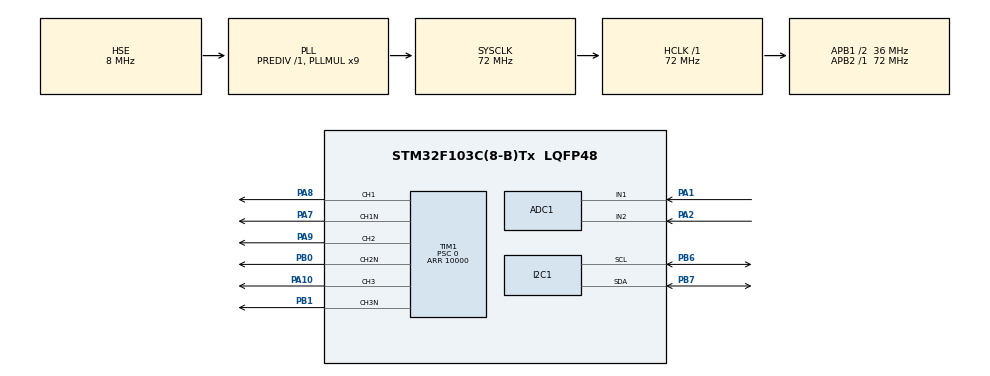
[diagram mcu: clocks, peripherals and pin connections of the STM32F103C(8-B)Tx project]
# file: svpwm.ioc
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ADC1.Channel-0\#ChannelRegularConversion=ADC_CHANNEL_1
ADC1.Channel-1\#ChannelRegularConversion=ADC_CHANNEL_2
ADC1.ContinuousConvMode=ENABLE
ADC1.DataAlign=ADC_DATAALIGN_RIGHT
ADC1.NbrOfConversion=2
ADC1.NbrOfConversionFlag=1
ADC1.Rank-0\#ChannelRegularConversion=1
ADC1.Rank-1\#ChannelRegularConversion=2
ADC1.SamplingTime-0\#ChannelRegularConversion=ADC_SAMPLETIME_41CYCLES_5
ADC1.SamplingTime-1\#ChannelRegularConversion=ADC_SAMPLETIME_41CYCLES_5
ADC1.master=1
Dma.ADC1.0.Direction=DMA_PERIPH_TO_MEMORY
Dma.ADC1.0.Instance=DMA1_Channel1
Dma.ADC1.0.MemDataAlignment=DMA_MDATAALIGN_WORD
Dma.ADC1.0.MemInc=DMA_MINC_ENABLE
Dma.ADC1.0.Mode=DMA_CIRCULAR
Dma.ADC1.0.PeriphDataAlignment=DMA_PDATAALIGN_WORD
Dma.ADC1.0.PeriphInc=DMA_PINC_DISABLE
Dma.ADC1.0.Priority=DMA_PRIORITY_LOW
Dma.Request0=ADC1
I2C1.I2C_Mode=I2C_Fast
Mcu.Family=STM32F1
Mcu.Name=STM32F103C(8-B)Tx
Mcu.Package=LQFP48
NVIC.DMA1_Channel1_IRQn=true\:0\:0\:false\:false\:true\:false\:true
NVIC.PriorityGroup=NVIC_PRIORITYGROUP_4
NVIC.TIM1_BRK_IRQn=true\:0\:0\:false\:false\:true\:true\:true
NVIC.TIM1_UP_IRQn=true\:0\:0\:false\:false\:true\:true\:true
PA1.Signal=ADCx_IN1
PA10.Signal=S_TIM1_CH3
PA13.Mode=Trace_Asynchronous_SW
PA13.Signal=SYS_JTMS-SWDIO
PA14.Mode=Trace_Asynchronous_SW
PA14.Signal=SYS_JTCK-SWCLK
PA2.Signal=ADCx_IN2
PA7.Mode=PWM Generation1 CH1 CH1N
PA7.Signal=TIM1_CH1N
PA8.Signal=S_TIM1_CH1
PA9.Signal=S_TIM1_CH2
PB0.Mode=PWM Generation2 CH2 CH2N
PB0.Signal=TIM1_CH2N
PB1.Mode=PWM Generation3 CH3 CH3N
PB1.Signal=TIM1_CH3N
PB3.Mode=Trace_Asynchronous_SW
PB3.Signal=SYS_JTDO-TRACESWO
PB6.Mode=I2C
PB6.Signal=I2C1_SCL
PB7.Mode=I2C
PB7.Signal=I2C1_SDA
PD0-OSC_IN.Mode=HSE-External-Oscillator
PD0-OSC_IN.Signal=RCC_OSC_IN
PD1-OSC_OUT.Mode=HSE-External-Oscillator
PD1-OSC_OUT.Signal=RCC_OSC_OUT
ProjectManager.HeapSize=0x200
ProjectManager.StackSize=0x400
ProjectManager.TargetToolchain=STM32CubeIDE
RCC.ADCPresc=RCC_ADCPCLK2_DIV6
RCC.AHBFreq_Value=72000000
RCC.APB1CLKDivider=RCC_HCLK_DIV2
RCC.APB1Freq_Value=36000000
RCC.APB1TimFreq_Value=72000000
RCC.APB2Freq_Value=72000000
RCC.APB2TimFreq_Value=72000000
RCC.HCLKFreq_Value=72000000
RCC.PLLMUL=RCC_PLL_MUL9
RCC.PLLSourceVirtual=RCC_PLLSOURCE_HSE
RCC.SYSCLKFreq_VALUE=72000000
RCC.SYSCLKSource=RCC_SYSCLKSOURCE_PLLCLK
RCC.USBFreq_Value=48000000
RCC.USBPrescaler=RCC_USBCLKSOURCE_PLL_DIV1_5
SH.ADCx_IN1.0=ADC1_IN1,IN1
SH.ADCx_IN2.0=ADC1_IN2,IN2
SH.S_TIM1_CH1.0=TIM1_CH1,PWM Generation1 CH1 CH1N
SH.S_TIM1_CH2.0=TIM1_CH2,PWM Generation2 CH2 CH2N
SH.S_TIM1_CH3.0=TIM1_CH3,PWM Generation3 CH3 CH3N
TIM1.AutoReloadPreload=TIM_AUTORELOAD_PRELOAD_ENABLE
TIM1.BreakState=TIM_BREAK_DISABLE
TIM1.Channel-PWM\ Generation1\ CH1\ CH1N=TIM_CHANNEL_1
TIM1.Channel-PWM\ Generation2\ CH2\ CH2N=TIM_CHANNEL_2
TIM1.Channel-PWM\ Generation3\ CH3\ CH3N=TIM_CHANNEL_3
TIM1.DeadTime=0
TIM1.Period=10000
TIM1.Prescaler=0
TIM1.Pulse-PWM\ Generation1\ CH1\ CH1N=500
TIM1.Pulse-PWM\ Generation2\ CH2\ CH2N=250
TIM1.Pulse-PWM\ Generation3\ CH3\ CH3N=750
VP_TIM1_VS_ClockSourceINT.Mode=Internal
board=custom

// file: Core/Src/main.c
/* USER CODE BEGIN Header */
/**
  ******************************************************************************
  * @file           : main.c
  * @brief          : Main program body
  ******************************************************************************
  * @attention
  *
  * <h2><center>&copy; Copyright (c) 2020 STMicroelectronics.
  * All rights reserved.</center></h2>
  *
  * This software component is licensed by ST under Ultimate Liberty license
  * SLA0044, the "License"; You may not use this file except in compliance with
  * the License. You may obtain a copy of the License at:
  *                             www.st.com/SLA0044
  *
  ******************************************************************************
  */
/* USER CODE END Header */
#include "main.h"

/* USER CODE BEGIN Includes */
#include "math.h"
#include "stdio.h"
#include "inttypes.h"
/* USER CODE END Includes */

ADC_HandleTypeDef hadc1;
DMA_HandleTypeDef hdma_adc1;

I2C_HandleTypeDef hi2c1;

TIM_HandleTypeDef htim1;

/* USER CODE BEGIN PV */

// I2C Values for AS5600
static const uint8_t AS5600_ADDR = 0x36 << 1; // Use 8-bit address
static const uint8_t RAW_ANGLE_REG = 0x0C;

static const float S_2_PI_3 = 2.0f * M_PI / 3.0f;
static const float S_1_SQRT3 = 1.0f / sqrtf(3.0f);
static const float S_2_SQRT3 = 2.0f / sqrtf(3.0f);
static const float S_SQRT3_2 = sqrt(3.0f) / 2.0f;
static const float SCALE_TO_ONE = 1.0f / (1.0f / (2.0f * sqrtf(3.0f)) + sqrtf(3.0f) / 2.0f);

/* USER CODE END PV */

void SystemClock_Config(void);
static void MX_GPIO_Init(void);
static void MX_DMA_Init(void);
static void MX_TIM1_Init(void);
static void MX_I2C1_Init(void);
static void MX_ADC1_Init(void);

/* USER CODE BEGIN 0 */

int _write(int32_t file, uint8_t *ptr, int32_t len) {
	/* Implement your write code here, this is used by puts and printf for example */
	int i = 0;
	for(i=0; i < len; i++) {
		ITM_SendChar((*ptr++));
	}
	return len;
}

int modeSelect = 0;

float theta = 0.0f;
float thetaAdd = 0.00002f;

uint16_t desiredRawAngle = 2000;
uint16_t lastRawAngle = 0;
int desiredVelocity = 0;
int velocity = 0;

uint16_t electricOffset = 35;
uint16_t electricRange = 585;
uint16_t electricAngle = 0;

uint32_t adcValues[2];

int dutyCycle = 500;
int period = 10000;

// In V
float V = 15.0f;

// TODO: Make this so you don't need to update it
float VConversionFactor = 15.0f * 150.0f / 10000.0f;

// In V
float Va = 0;
float Vb = 0;
float Vc = 0;

float Valpha = 0;
float Vbeta = 0;

// For converting from ADC value to mA
// ADC range is [0, 4095] which gets shifted
// to [-2048, 2047] to account for negative current.
// Current shunt resistance is 0.0005 ohms
// and current amplifier gain is 100 with range [-1.65, 1.65] volts
// So, V = 100 * 0.0005 * I
// So I = V / (100 * 0.0005)
// So for 1.65 volts, I = 1.65 / (100 * 0.0005) = 33 amps
float IConversionFactor = 33.0f / 2048.0f;

// In A
float Ia = 0;
float Ib = 0;
float Ic = 0;

float Ialpha = 0;
float Ibeta = 0;

// Sensorless stuff from this article:
// http://cas.ensmp.fr/~praly/Telechargement/Journaux/2010-IEEE_TPEL-Lee-Hong-Nam-Ortega-Praly-Astolfi.pdf

float R = 0.034f; // TODO
float L = 0.01f; // TODO
float psi = 0.01f; // TODO

float gamma_ = 1000.0f; // TODO

float yAlpha = 0;
float yBeta = 0;

float etaAlpha = 0;
float etaBeta = 0;

float psiSquared = 0;
float etaNormSquared = 0;

float xAlpha = 0;
float xBeta = 0;

float xDotAlpha = 0;
float xDotBeta = 0;

void HAL_TIM_PeriodElapsedCallback(TIM_HandleTypeDef *htim1_1) {
	float p;
	if (modeSelect == 0) {
		p = 0.0f;
	} else if (modeSelect == 1) {
		p = 100.0f * (desiredVelocity - velocity);

		if (desiredVelocity < 0) {
			p = -p;
		}

		if (p < 0.0f) {
			p = 0.0f;
		}
	}

	float multiplyBy = ((float)dutyCycle + p) * (1.0f + 12.5f * thetaAdd);
	int addTo = ((float)period - multiplyBy) / 2.0f;

	float third_sector = floorf(theta / S_2_PI_3);
	float third_sector_theta = theta - third_sector * S_2_PI_3;

	float x = cosf(third_sector_theta);
	float y = sinf(third_sector_theta);

	float a = SCALE_TO_ONE * (S_1_SQRT3 * y + x);
	float b = SCALE_TO_ONE * (S_2_SQRT3 * y);

	int a_time = a * multiplyBy;
	int b_time = b * multiplyBy;

	if (third_sector == 0) {
		__HAL_TIM_SET_COMPARE(&htim1, TIM_CHANNEL_1, a_time + addTo);
		__HAL_TIM_SET_COMPARE(&htim1, TIM_CHANNEL_2, b_time + addTo);
		__HAL_TIM_SET_COMPARE(&htim1, TIM_CHANNEL_3, addTo);

		Va = a * VConversionFactor;
		Vb = b * VConversionFactor;
		Vc = 0;
	} else if (third_sector == 1) {
		__HAL_TIM_SET_COMPARE(&htim1, TIM_CHANNEL_1, addTo);
		__HAL_TIM_SET_COMPARE(&htim1, TIM_CHANNEL_2, a_time + addTo);
		__HAL_TIM_SET_COMPARE(&htim1, TIM_CHANNEL_3, b_time + addTo);

		Va = 0;
		Vb = a * VConversionFactor;
		Vc = b * VConversionFactor;
	} else { // third_sector == 2
		__HAL_TIM_SET_COMPARE(&htim1, TIM_CHANNEL_1, b_time + addTo);
		__HAL_TIM_SET_COMPARE(&htim1, TIM_CHANNEL_2, addTo);
		__HAL_TIM_SET_COMPARE(&htim1, TIM_CHANNEL_3, a_time + addTo);

		Va = b * VConversionFactor;
		Vb = 0;
		Vc = a * VConversionFactor;
	}

	if (modeSelect == 0) {
		theta += thetaAdd;
//		thetaAdd += 0.0000002f;

		if (theta >= 2.0f * M_PI) {
			theta -= 2.0f * M_PI;
		}
	}
}

/* USER CODE END 0 */

int main(void)
{

  /* MCU Configuration--------------------------------------------------------*/

  /* Reset of all peripherals, Initializes the Flash interface and the Systick. */
  HAL_Init();

  /* Configure the system clock */
  SystemClock_Config();

  /* Initialize all configured peripherals */
  MX_GPIO_Init();
  MX_DMA_Init();
  MX_TIM1_Init();
  MX_I2C1_Init();
  MX_ADC1_Init();
  /* USER CODE BEGIN 2 */
  __HAL_TIM_ENABLE_IT(&htim1, TIM_IT_UPDATE);

  HAL_TIM_PWM_Start(&htim1, TIM_CHANNEL_1);
  HAL_TIMEx_PWMN_Start(&htim1, TIM_CHANNEL_1);

  HAL_TIM_PWM_Start(&htim1, TIM_CHANNEL_2);
  HAL_TIMEx_PWMN_Start(&htim1, TIM_CHANNEL_2);

  HAL_TIM_PWM_Start(&htim1, TIM_CHANNEL_3);
  HAL_TIMEx_PWMN_Start(&htim1, TIM_CHANNEL_3);

  if (HAL_ADC_Start_DMA(&hadc1, adcValues, 2) != HAL_OK) {
	  printf("Error ADC start\n");
  }

  HAL_StatusTypeDef ret;
  uint8_t buf[12];

  if (modeSelect == 1) {
	  buf[0] = RAW_ANGLE_REG;
	  ret = HAL_I2C_Master_Transmit(&hi2c1, AS5600_ADDR, buf, 1, 1000);
	  if (ret == HAL_BUSY) {
		  printf("Busy Tx\n");
	  } else if (ret == HAL_ERROR) {
		  printf("Error Tx\n");
	  } else {
		  printf("Success Tx\n");
	  }
  }

  /* USER CODE END 2 */

  /* Infinite loop */
  /* USER CODE BEGIN WHILE */
  while (1)
  {
	  if (modeSelect == 1) {
		  ret = HAL_I2C_Master_Receive(&hi2c1, AS5600_ADDR, buf, 2, 1000);
		  if (ret != HAL_OK) {
			  printf("Error Rx\n");
		  } else {
			  uint16_t rawAngle = (((uint16_t) buf[0]) << 8) + buf[1];
//			  printf("Read I2C %u\n", rawAngle);

			  if (lastRawAngle > 3995 && rawAngle < 100) {
				  velocity = 4095 - ((int)lastRawAngle) + ((int)rawAngle);
			  } else {
				  velocity = ((int)rawAngle) - ((int)lastRawAngle);
			  }

//			  printf("Velocity %d\n", velocity);

			  lastRawAngle = rawAngle;

			  if (electricOffset > rawAngle) {
				  electricAngle = electricRange - electricOffset + rawAngle;
			  } else {
				  electricAngle = (rawAngle - electricOffset) % electricRange;
			  }

//			  printf("Electric angle %u\n", electricAngle);

//			  desiredVelocity = 20;
			  desiredVelocity = ((int)desiredRawAngle - (int)rawAngle) / 5;

			  if (desiredVelocity > 20) {
			  	desiredVelocity = 20;
			  } else if (desiredVelocity < -20) {
			  	desiredVelocity = -20;
			  }

			  if (desiredVelocity > 0) {
				  theta = 2.0f * M_PI * ((electricAngle + electricRange / 4) % electricRange) / (1.0f * electricRange);
			  } else {
				  theta = 2.0f * M_PI * ((electricAngle + 3 * electricRange / 4) % electricRange) / (1.0f * electricRange);
			  }
		  }
	  }

	  Ia = ((float)adcValues[0] - 4096 / 2) * IConversionFactor;
	  Ib = ((float)adcValues[1] - 4096 / 2) * IConversionFactor;
	  Ic = -(Ia + Ib);

	  Ialpha = Ia - 0.5 * Ib - 0.5 * Ic;
	  Ibeta = S_SQRT3_2 * Ib - S_SQRT3_2 * Ic;

	  Valpha = Va - 0.5 * Vb - 0.5 * Vc;
	  Vbeta = S_SQRT3_2 * Vb - S_SQRT3_2 * Vc;

	  yAlpha = -R * Ialpha + Valpha;
	  yBeta = -R * Ibeta + Vbeta;

	  etaAlpha = xAlpha - L * Ialpha;
	  etaBeta = xBeta - L * Ibeta;

	  psiSquared = psi * psi;
	  etaNormSquared = etaAlpha * etaAlpha + etaBeta * etaBeta;

	  xDotAlpha = yAlpha + 0.5 * gamma_ * etaAlpha * (psiSquared - etaNormSquared);
	  xDotBeta = yBeta + 0.5 * gamma_ * etaBeta * (psiSquared - etaNormSquared);

//	  HAL_Delay(250);

//	  theta += 0.01;
//
//	  if (theta >= 2.0f * M_PI) {
//		  theta -= 2.0f * M_PI;
//	  }
//
//	  HAL_Delay(10);
    /* USER CODE END WHILE */

  }
}

void SystemClock_Config(void)
{
  RCC_OscInitTypeDef RCC_OscInitStruct = {0};
  RCC_ClkInitTypeDef RCC_ClkInitStruct = {0};
  RCC_PeriphCLKInitTypeDef PeriphClkInit = {0};

  /** Initializes the RCC Oscillators according to the specified parameters
  * in the RCC_OscInitTypeDef structure.
  */
  RCC_OscInitStruct.OscillatorType = RCC_OSCILLATORTYPE_HSE;
  RCC_OscInitStruct.HSEState = RCC_HSE_ON;
  RCC_OscInitStruct.HSEPredivValue = RCC_HSE_PREDIV_DIV1;
  RCC_OscInitStruct.HSIState = RCC_HSI_ON;
  RCC_OscInitStruct.PLL.PLLState = RCC_PLL_ON;
  RCC_OscInitStruct.PLL.PLLSource = RCC_PLLSOURCE_HSE;
  RCC_OscInitStruct.PLL.PLLMUL = RCC_PLL_MUL9;
  if (HAL_RCC_OscConfig(&RCC_OscInitStruct) != HAL_OK)
  {
    Error_Handler();
  }
  /** Initializes the CPU, AHB and APB buses clocks
  */
  RCC_ClkInitStruct.ClockType = RCC_CLOCKTYPE_HCLK|RCC_CLOCKTYPE_SYSCLK
                              |RCC_CLOCKTYPE_PCLK1|RCC_CLOCKTYPE_PCLK2;
  RCC_ClkInitStruct.SYSCLKSource = RCC_SYSCLKSOURCE_PLLCLK;
  RCC_ClkInitStruct.AHBCLKDivider = RCC_SYSCLK_DIV1;
  RCC_ClkInitStruct.APB1CLKDivider = RCC_HCLK_DIV2;
  RCC_ClkInitStruct.APB2CLKDivider = RCC_HCLK_DIV1;

  if (HAL_RCC_ClockConfig(&RCC_ClkInitStruct, FLASH_LATENCY_2) != HAL_OK)
  {
    Error_Handler();
  }
  PeriphClkInit.PeriphClockSelection = RCC_PERIPHCLK_ADC;
  PeriphClkInit.AdcClockSelection = RCC_ADCPCLK2_DIV6;
  if (HAL_RCCEx_PeriphCLKConfig(&PeriphClkInit) != HAL_OK)
  {
    Error_Handler();
  }
}

static void MX_ADC1_Init(void)
{

  ADC_ChannelConfTypeDef sConfig = {0};

  /** Common config
  */
  hadc1.Instance = ADC1;
  hadc1.Init.ScanConvMode = ADC_SCAN_ENABLE;
  hadc1.Init.ContinuousConvMode = ENABLE;
  hadc1.Init.DiscontinuousConvMode = DISABLE;
  hadc1.Init.ExternalTrigConv = ADC_SOFTWARE_START;
  hadc1.Init.DataAlign = ADC_DATAALIGN_RIGHT;
  hadc1.Init.NbrOfConversion = 2;
  if (HAL_ADC_Init(&hadc1) != HAL_OK)
  {
    Error_Handler();
  }
  /** Configure Regular Channel
  */
  sConfig.Channel = ADC_CHANNEL_1;
  sConfig.Rank = ADC_REGULAR_RANK_1;
  sConfig.SamplingTime = ADC_SAMPLETIME_41CYCLES_5;
  if (HAL_ADC_ConfigChannel(&hadc1, &sConfig) != HAL_OK)
  {
    Error_Handler();
  }
  /** Configure Regular Channel
  */
  sConfig.Channel = ADC_CHANNEL_2;
  sConfig.Rank = ADC_REGULAR_RANK_2;
  if (HAL_ADC_ConfigChannel(&hadc1, &sConfig) != HAL_OK)
  {
    Error_Handler();
  }

}

static void MX_I2C1_Init(void)
{

  hi2c1.Instance = I2C1;
  hi2c1.Init.ClockSpeed = 400000;
  hi2c1.Init.DutyCycle = I2C_DUTYCYCLE_2;
  hi2c1.Init.OwnAddress1 = 0;
  hi2c1.Init.AddressingMode = I2C_ADDRESSINGMODE_7BIT;
  hi2c1.Init.DualAddressMode = I2C_DUALADDRESS_DISABLE;
  hi2c1.Init.OwnAddress2 = 0;
  hi2c1.Init.GeneralCallMode = I2C_GENERALCALL_DISABLE;
  hi2c1.Init.NoStretchMode = I2C_NOSTRETCH_DISABLE;
  if (HAL_I2C_Init(&hi2c1) != HAL_OK)
  {
    Error_Handler();
  }

}

static void MX_TIM1_Init(void)
{

  TIM_ClockConfigTypeDef sClockSourceConfig = {0};
  TIM_MasterConfigTypeDef sMasterConfig = {0};
  TIM_OC_InitTypeDef sConfigOC = {0};
  TIM_BreakDeadTimeConfigTypeDef sBreakDeadTimeConfig = {0};

  htim1.Instance = TIM1;
  htim1.Init.Prescaler = 0;
  htim1.Init.CounterMode = TIM_COUNTERMODE_UP;
  htim1.Init.Period = 10000;
  htim1.Init.ClockDivision = TIM_CLOCKDIVISION_DIV1;
  htim1.Init.RepetitionCounter = 0;
  htim1.Init.AutoReloadPreload = TIM_AUTORELOAD_PRELOAD_ENABLE;
  if (HAL_TIM_Base_Init(&htim1) != HAL_OK)
  {
    Error_Handler();
  }
  sClockSourceConfig.ClockSource = TIM_CLOCKSOURCE_INTERNAL;
  if (HAL_TIM_ConfigClockSource(&htim1, &sClockSourceConfig) != HAL_OK)
  {
    Error_Handler();
  }
  if (HAL_TIM_PWM_Init(&htim1) != HAL_OK)
  {
    Error_Handler();
  }
  sMasterConfig.MasterOutputTrigger = TIM_TRGO_RESET;
  sMasterConfig.MasterSlaveMode = TIM_MASTERSLAVEMODE_DISABLE;
  if (HAL_TIMEx_MasterConfigSynchronization(&htim1, &sMasterConfig) != HAL_OK)
  {
    Error_Handler();
  }
  sConfigOC.OCMode = TIM_OCMODE_PWM1;
  sConfigOC.Pulse = 500;
  sConfigOC.OCPolarity = TIM_OCPOLARITY_HIGH;
  sConfigOC.OCNPolarity = TIM_OCNPOLARITY_HIGH;
  sConfigOC.OCFastMode = TIM_OCFAST_DISABLE;
  sConfigOC.OCIdleState = TIM_OCIDLESTATE_RESET;
  sConfigOC.OCNIdleState = TIM_OCNIDLESTATE_RESET;
  if (HAL_TIM_PWM_ConfigChannel(&htim1, &sConfigOC, TIM_CHANNEL_1) != HAL_OK)
  {
    Error_Handler();
  }
  sConfigOC.Pulse = 250;
  if (HAL_TIM_PWM_ConfigChannel(&htim1, &sConfigOC, TIM_CHANNEL_2) != HAL_OK)
  {
    Error_Handler();
  }
  sConfigOC.Pulse = 750;
  if (HAL_TIM_PWM_ConfigChannel(&htim1, &sConfigOC, TIM_CHANNEL_3) != HAL_OK)
  {
    Error_Handler();
  }
  sBreakDeadTimeConfig.OffStateRunMode = TIM_OSSR_DISABLE;
  sBreakDeadTimeConfig.OffStateIDLEMode = TIM_OSSI_DISABLE;
  sBreakDeadTimeConfig.LockLevel = TIM_LOCKLEVEL_OFF;
  sBreakDeadTimeConfig.DeadTime = 0;
  sBreakDeadTimeConfig.BreakState = TIM_BREAK_DISABLE;
  sBreakDeadTimeConfig.BreakPolarity = TIM_BREAKPOLARITY_HIGH;
  sBreakDeadTimeConfig.AutomaticOutput = TIM_AUTOMATICOUTPUT_DISABLE;
  if (HAL_TIMEx_ConfigBreakDeadTime(&htim1, &sBreakDeadTimeConfig) != HAL_OK)
  {
    Error_Handler();
  }
  HAL_TIM_MspPostInit(&htim1);

}

static void MX_DMA_Init(void)
{

  /* DMA controller clock enable */
  __HAL_RCC_DMA1_CLK_ENABLE();

  /* DMA interrupt init */
  /* DMA1_Channel1_IRQn interrupt configuration */
  HAL_NVIC_SetPriority(DMA1_Channel1_IRQn, 0, 0);
  HAL_NVIC_EnableIRQ(DMA1_Channel1_IRQn);

}

static void MX_GPIO_Init(void)
{

  /* GPIO Ports Clock Enable */
  __HAL_RCC_GPIOD_CLK_ENABLE();
  __HAL_RCC_GPIOA_CLK_ENABLE();
  __HAL_RCC_GPIOB_CLK_ENABLE();

}

void Error_Handler(void)
{
}

/************************ (C) COPYRIGHT STMicroelectronics *****END OF FILE****/
